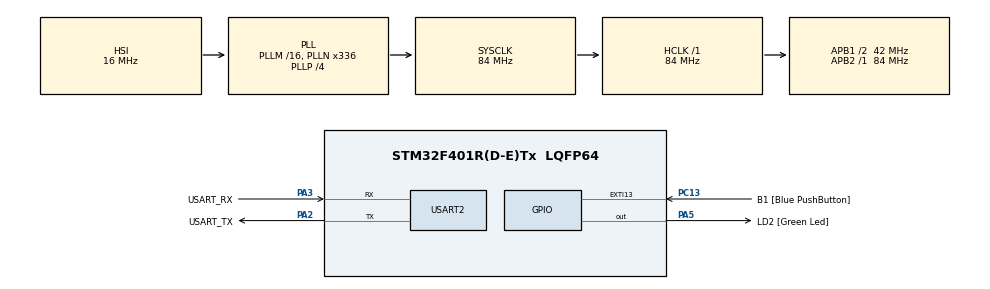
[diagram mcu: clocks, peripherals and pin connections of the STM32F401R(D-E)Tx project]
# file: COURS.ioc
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Mcu.Family=STM32F4
Mcu.Name=STM32F401R(D-E)Tx
Mcu.Package=LQFP64
NVIC.EXTI15_10_IRQn=true\:0\:0\:false\:false\:true\:true\:true\:true
NVIC.PriorityGroup=NVIC_PRIORITYGROUP_0
PA13.GPIO_Label=TMS
PA13.Mode=Serial_Wire
PA13.Signal=SYS_JTMS-SWDIO
PA14.GPIO_Label=TCK
PA14.Mode=Serial_Wire
PA14.Signal=SYS_JTCK-SWCLK
PA2.GPIO_Label=USART_TX
PA2.GPIO_Mode=GPIO_MODE_AF_PP
PA2.GPIO_PuPd=GPIO_NOPULL
PA2.GPIO_Speed=GPIO_SPEED_FREQ_LOW
PA2.Mode=Asynchronous
PA2.Signal=USART2_TX
PA3.GPIO_Label=USART_RX
PA3.GPIO_Mode=GPIO_MODE_AF_PP
PA3.GPIO_PuPd=GPIO_NOPULL
PA3.GPIO_Speed=GPIO_SPEED_FREQ_LOW
PA3.Mode=Asynchronous
PA3.Signal=USART2_RX
PA5.GPIO_Label=LD2 [Green Led]
PA5.GPIO_Mode=GPIO_MODE_OUTPUT_PP
PA5.GPIO_PuPd=GPIO_NOPULL
PA5.GPIO_Speed=GPIO_SPEED_FREQ_LOW
PA5.Signal=GPIO_Output
PB3.GPIO_Label=SWO
PB3.Signal=SYS_JTDO-SWO
PC13-ANTI_TAMP.GPIO_Label=B1 [Blue PushButton]
PC13-ANTI_TAMP.GPIO_ModeDefaultEXTI=GPIO_MODE_IT_FALLING
PC13-ANTI_TAMP.GPIO_PuPd=GPIO_PULLDOWN
PC13-ANTI_TAMP.Signal=GPXTI13
PC14-OSC32_IN.Mode=LSE-External-Oscillator
PC14-OSC32_IN.Signal=RCC_OSC32_IN
PC15-OSC32_OUT.Mode=LSE-External-Oscillator
PC15-OSC32_OUT.Signal=RCC_OSC32_OUT
PH0\ -\ OSC_IN.Mode=HSE-External-Oscillator
PH0\ -\ OSC_IN.Signal=RCC_OSC_IN
PH1\ -\ OSC_OUT.Mode=HSE-External-Oscillator
PH1\ -\ OSC_OUT.Signal=RCC_OSC_OUT
ProjectManager.HeapSize=0x200
ProjectManager.StackSize=0x400
ProjectManager.TargetToolchain=Makefile
RCC.48MHZClocksFreq_Value=48000000
RCC.AHBFreq_Value=84000000
RCC.APB1CLKDivider=RCC_HCLK_DIV2
RCC.APB1Freq_Value=42000000
RCC.APB1TimFreq_Value=84000000
RCC.APB2Freq_Value=84000000
RCC.APB2TimFreq_Value=84000000
RCC.CortexFreq_Value=84000000
RCC.HCLKFreq_Value=84000000
RCC.HSE_VALUE=8000000
RCC.HSI_VALUE=16000000
RCC.PLLN=336
RCC.PLLP=RCC_PLLP_DIV4
RCC.PLLQ=7
RCC.SYSCLKFreq_VALUE=84000000
RCC.SYSCLKSource=RCC_SYSCLKSOURCE_PLLCLK
RCC.VCOOutputFreq_Value=336000000
USART2.VirtualMode=VM_ASYNC
board=NUCLEO-F401RE

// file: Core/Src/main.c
/* USER CODE BEGIN Header */
/**
 ******************************************************************************
 * @file           : main.c
 * @brief          : Main program body
 ******************************************************************************
 * @attention
 *
 * Copyright (c) 2024 STMicroelectronics.
 * All rights reserved.
 *
 * This software is licensed under terms that can be found in the LICENSE file
 * in the root directory of this software component.
 * If no LICENSE file comes with this software, it is provided AS-IS.
 *
 ******************************************************************************
 */
/* USER CODE END Header */
#include "main.h"

/* USER CODE BEGIN PTD */
/*!
 *  \enum LEDStates
 *  \brief Different states of the LED
 */
enum LEDStates
{
  LED_ON = 0,   /*!< LED is ON */
  LED_OFF = 1,  /*!< LED is OFF */
  LED_BLINK = 2 /*!< LED is blinking */
} LEDStates;

/* USER CODE END PTD */

/* USER CODE BEGIN PD */
/*!
 *  \def LED_BLINK_INTERVAL
 *  \brief Intervalle de clignotement de la LED
*/
#define LED_BLINK_INTERVAL 1000

/* USER CODE END PD */

UART_HandleTypeDef huart2;

/* USER CODE BEGIN PV */
static enum LEDStates state = LED_ON;
/* USER CODE END PV */

void SystemClock_Config(void);
static void MX_GPIO_Init(void);
static void MX_USART2_UART_Init(void);
/* USER CODE BEGIN PFP */
void updateLEDStateMachine(void);
/* USER CODE END PFP */

/* USER CODE BEGIN 0 */

void updateLEDStateMachine(void)
{
  state = (state + 1) % 2;
}

void HAL_GPIO_EXTI_Callback(uint16_t GPIO_Pin)
{
  if (GPIO_Pin == B1_Pin)
  {
    updateLEDStateMachine();
  }
}

/* USER CODE END 0 */

int main(void)
{

  /* MCU Configuration--------------------------------------------------------*/

  /* Reset of all peripherals, Initializes the Flash interface and the Systick. */
  HAL_Init();

  /* USER CODE BEGIN Init */
  uint32_t tickStartTime = HAL_GetTick();
  enum LEDStates previousState = state;
  /* USER CODE END Init */

  /* Configure the system clock */
  SystemClock_Config();

  /* Initialize all configured peripherals */
  MX_GPIO_Init();
  MX_USART2_UART_Init();

  /* Infinite loop */
  /* USER CODE BEGIN WHILE */
  while (1)
  {

    switch (state)
    {
    case 0:
      if (previousState != state) // GUARD CONDITION -- pour ne pas ecrire en boucle le registre pour rien
      {
        HAL_GPIO_WritePin(GPIOA, LD2_Pin, GPIO_PIN_SET);
      }
      break;
    case 1:
      if (previousState != state) // GUARD CONDITION -- pour ne pas ecrire en boucle le registre pour rien
      {
        HAL_GPIO_WritePin(GPIOA, LD2_Pin, GPIO_PIN_RESET);
      }
      break;
    case 2:
      if (previousState != state) // GUARD CONDITION -- pour bien reset le tickStartTime a chaque fois que l'on entre dans cet etat
      {
        tickStartTime = HAL_GetTick();
      }
      if (HAL_GetTick() - tickStartTime > LED_BLINK_INTERVAL)
      {
        HAL_GPIO_TogglePin(GPIOA, LD2_Pin);
        tickStartTime = HAL_GetTick();
      }
      break;
    }
    previousState = state;
  }
  /* USER CODE END 3 */
}

void SystemClock_Config(void)
{
  RCC_OscInitTypeDef RCC_OscInitStruct = {0};
  RCC_ClkInitTypeDef RCC_ClkInitStruct = {0};

  /** Configure the main internal regulator output voltage
   */
  __HAL_RCC_PWR_CLK_ENABLE();
  __HAL_PWR_VOLTAGESCALING_CONFIG(PWR_REGULATOR_VOLTAGE_SCALE2);

  /** Initializes the RCC Oscillators according to the specified parameters
   * in the RCC_OscInitTypeDef structure.
   */
  RCC_OscInitStruct.OscillatorType = RCC_OSCILLATORTYPE_HSI;
  RCC_OscInitStruct.HSIState = RCC_HSI_ON;
  RCC_OscInitStruct.HSICalibrationValue = RCC_HSICALIBRATION_DEFAULT;
  RCC_OscInitStruct.PLL.PLLState = RCC_PLL_ON;
  RCC_OscInitStruct.PLL.PLLSource = RCC_PLLSOURCE_HSI;
  RCC_OscInitStruct.PLL.PLLM = 16;
  RCC_OscInitStruct.PLL.PLLN = 336;
  RCC_OscInitStruct.PLL.PLLP = RCC_PLLP_DIV4;
  RCC_OscInitStruct.PLL.PLLQ = 7;
  if (HAL_RCC_OscConfig(&RCC_OscInitStruct) != HAL_OK)
  {
    Error_Handler();
  }

  /** Initializes the CPU, AHB and APB buses clocks
   */
  RCC_ClkInitStruct.ClockType = RCC_CLOCKTYPE_HCLK | RCC_CLOCKTYPE_SYSCLK | RCC_CLOCKTYPE_PCLK1 | RCC_CLOCKTYPE_PCLK2;
  RCC_ClkInitStruct.SYSCLKSource = RCC_SYSCLKSOURCE_PLLCLK;
  RCC_ClkInitStruct.AHBCLKDivider = RCC_SYSCLK_DIV1;
  RCC_ClkInitStruct.APB1CLKDivider = RCC_HCLK_DIV2;
  RCC_ClkInitStruct.APB2CLKDivider = RCC_HCLK_DIV1;

  if (HAL_RCC_ClockConfig(&RCC_ClkInitStruct, FLASH_LATENCY_2) != HAL_OK)
  {
    Error_Handler();
  }
}

static void MX_USART2_UART_Init(void)
{

  huart2.Instance = USART2;
  huart2.Init.BaudRate = 115200;
  huart2.Init.WordLength = UART_WORDLENGTH_8B;
  huart2.Init.StopBits = UART_STOPBITS_1;
  huart2.Init.Parity = UART_PARITY_NONE;
  huart2.Init.Mode = UART_MODE_TX_RX;
  huart2.Init.HwFlowCtl = UART_HWCONTROL_NONE;
  huart2.Init.OverSampling = UART_OVERSAMPLING_16;
  if (HAL_UART_Init(&huart2) != HAL_OK)
  {
    Error_Handler();
  }
}

static void MX_GPIO_Init(void)
{
  GPIO_InitTypeDef GPIO_InitStruct = {0};

  /* GPIO Ports Clock Enable */
  __HAL_RCC_GPIOC_CLK_ENABLE();
  __HAL_RCC_GPIOH_CLK_ENABLE();
  __HAL_RCC_GPIOA_CLK_ENABLE();
  __HAL_RCC_GPIOB_CLK_ENABLE();

  /*Configure GPIO pin Output Level */
  HAL_GPIO_WritePin(LD2_GPIO_Port, LD2_Pin, GPIO_PIN_RESET);

  /*Configure GPIO pin : B1_Pin */
  GPIO_InitStruct.Pin = B1_Pin;
  GPIO_InitStruct.Mode = GPIO_MODE_IT_FALLING;
  GPIO_InitStruct.Pull = GPIO_PULLDOWN;
  HAL_GPIO_Init(B1_GPIO_Port, &GPIO_InitStruct);

  /*Configure GPIO pin : LD2_Pin */
  GPIO_InitStruct.Pin = LD2_Pin;
  GPIO_InitStruct.Mode = GPIO_MODE_OUTPUT_PP;
  GPIO_InitStruct.Pull = GPIO_NOPULL;
  GPIO_InitStruct.Speed = GPIO_SPEED_FREQ_LOW;
  HAL_GPIO_Init(LD2_GPIO_Port, &GPIO_InitStruct);

  /* EXTI interrupt init*/
  HAL_NVIC_SetPriority(EXTI15_10_IRQn, 0, 0);
  HAL_NVIC_EnableIRQ(EXTI15_10_IRQn);

}

void Error_Handler(void)
{
  __disable_irq();
  while (1)
  {
  }
}
